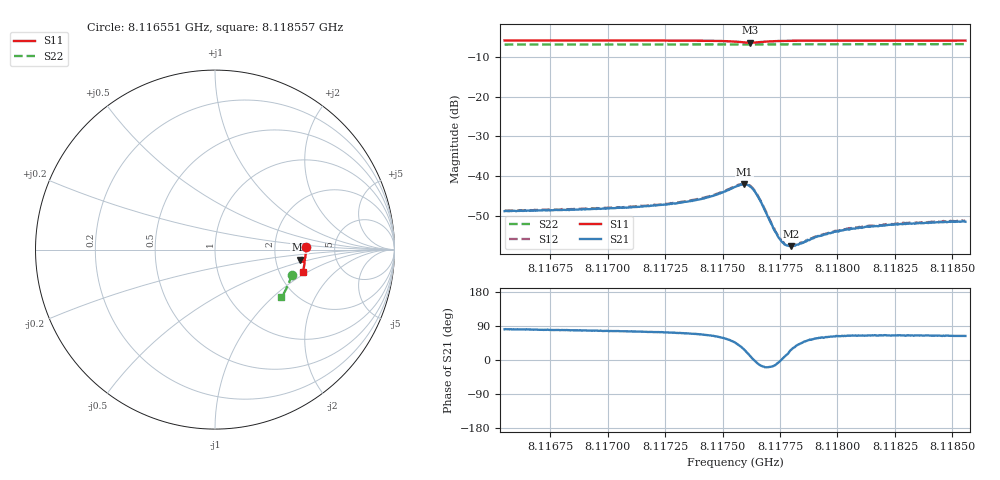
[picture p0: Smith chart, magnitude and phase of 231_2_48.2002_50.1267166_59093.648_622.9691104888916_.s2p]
#  HZ  S  RI  R  50.00
! Rohde & Schwarz Vector Network Analyzer
! Rohde-Schwarz,ZNB20-2Port,1311601062101988,3.16
! Created: UTC 3/20/2024, 11:46:21 AM
! freq[Hz]  re:S11  im:S11  re:S21  im:S21  re:S12  im:S12  re:S22  im:S22
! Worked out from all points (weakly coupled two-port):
!   401 points, 8.116551 GHz to 8.118557 GHz, reference 50 ohm
!   highest |S21| = -42.08 dB at 8.117594 GHz (marker M1); lowest = -57.6 dB at 8.1178 GHz (marker M2)
!   lowest |S11| = -6.5 dB at 8.117619 GHz (marker M3), VSWR 2.81, Z = 137 - j20.1 ohm
!   |S11| at or under -10 dB: nowhere
!   |S22| runs from -6.9 to -6.8 dB; largest |S21 - S12| = 0.0002
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8.1165511e9  0.5066 0.0172  0.000563 0.00357  0.000609 0.00365  0.4276 -0.1392
8.116887e9  0.506 -0.00859  0.000818 0.0037  0.000855 0.00381  0.4207 -0.1615
8.1170926e9  0.5052 -0.0248  0.00103 0.00391  0.00107 0.00397  0.416 -0.1751
8.117223e9  0.504 -0.0355  0.00121 0.00415  0.00128 0.00418  0.4126 -0.1836
8.1173033e9  0.5029 -0.0426  0.00145 0.00433  0.00152 0.00441  0.4105 -0.1888
8.1174086e9  0.5002 -0.0528  0.00199 0.00476  0.00206 0.00486  0.4076 -0.1956
8.1174738e9  0.4967 -0.0599  0.00272 0.00517  0.00283 0.00526  0.4057 -0.1999
8.117554e9  0.4855 -0.0678  0.00505 0.00526  0.0052 0.00532  0.4027 -0.205
8.1175941e9  0.4752 -0.0646  0.00699 0.00361  0.00719 0.00361  0.4013 -0.2072
8.1176192e9  0.4721 -0.0565  0.0073 0.0014  0.00747 0.0014  0.4005 -0.2081
8.1176393e9  0.4748 -0.0499  0.00647 -0.000209  0.00657 -0.000282  0.4001 -0.2091
8.1176543e9  0.4787 -0.047  0.00543 -0.000955  0.00549 -0.001  0.3998 -0.21
8.1177195e9  0.4934 -0.0509  0.00216 -0.000634  0.00223 -0.000691  0.3985 -0.2142
8.1177496e9  0.4962 -0.0553  0.00161 -9.43e-05  0.00166 -0.000141  0.398 -0.2162
8.1177696e9  0.4972 -0.058  0.00138 0.000203  0.00137 0.000209  0.3972 -0.2176
8.1177997e9  0.4982 -0.0618  0.00116 0.000608  0.00119 0.000573  0.3964 -0.2196
8.1178298e9  0.4986 -0.0653  0.00103 0.000902  0.00105 0.000919  0.3954 -0.2215
8.11789e9  0.4989 -0.0715  0.000961 0.00135  0.000957 0.00133  0.3936 -0.2252
8.1179502e9  0.4985 -0.0772  0.00091 0.00162  0.000943 0.00165  0.3915 -0.229
8.1180304e9  0.4976 -0.0844  0.000929 0.00189  0.000965 0.00191  0.3889 -0.2342
8.118226e9  0.4951 -0.1001  0.00103 0.00221  0.00104 0.00228  0.3822 -0.2462
8.1185569e9  0.4892 -0.125  0.00119 0.00238  0.00122 0.00248  0.3699 -0.2658
